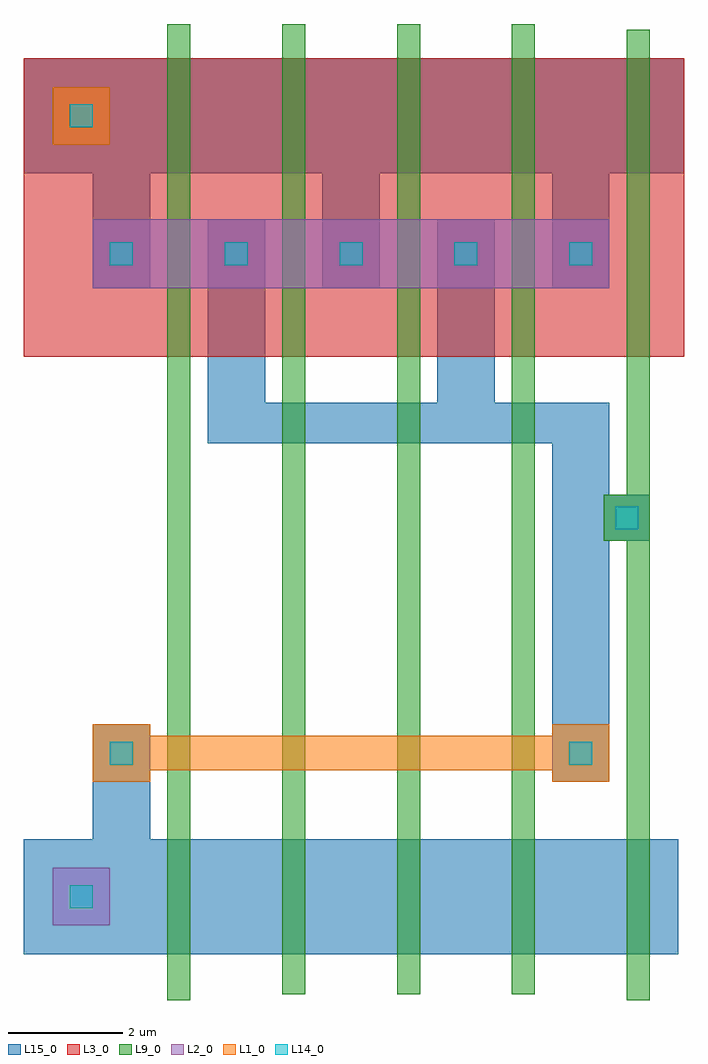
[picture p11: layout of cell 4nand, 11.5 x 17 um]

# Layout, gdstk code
import gdstk
lib = gdstk.Library(unit=1e-6, precision=1e-09)
def R(c, l, rs):  # rectangles x0, y0, x1, y1
    for r in rs: c.add(gdstk.rectangle(r[:2], r[2:], *l))
def A(c, l, x, y, w, h, nx, ny, dx, dy):  # array of equal rectangles
    R(c, l, [(x+i*dx, y+j*dy, x+i*dx+w, y+j*dy+h) for i in range(nx) for j in range(ny)])
def P(c, l, *ps):  # polygons
    for p in ps: c.add(gdstk.Polygon(p, *l))
L1_0 = (1, 0)
L2_0 = (2, 0)
L3_0 = (3, 0)
L9_0 = (9, 0)
L14_0 = (14, 0)
L15_0 = (15, 0)

c_4nand = lib.new_cell('4nand')
R(c_4nand, L1_0, [(-6.2,4.3,-5.2,5.3)])
P(c_4nand, L1_0, [(-5.5,-5.8),(-5.5,-6.8),(-4.5,-6.8),(-4.5,-6.6),(2.5,-6.6),(2.5,-6.8),(3.5,-6.8),(3.5,-5.8),(2.5,-5.8),(2.5,-6),(-4.5,-6),(-4.5,-5.8)])
R(c_4nand, L2_0, [(-6.2,-9.3,-5.2,-8.3), (-5.5,1.8,3.5,3)])
R(c_4nand, L3_0, [(-6.7,0.6,4.8,5.8)])
A(c_4nand, L9_0, -2.2, -10.5, 0.4, 16.9, 3, 1, 2, 0)
R(c_4nand, L9_0, [(-4.2,-10.6,-3.8,6.4)])
P(c_4nand, L9_0, [(4.2,-10.6),(4.2,6.3),(3.8,6.3),(3.8,-1.8),(3.4,-1.8),(3.4,-2.6),(3.8,-2.6),(3.8,-10.6)])
A(c_4nand, L14_0, -5.2, 2.2, 0.4, 0.4, 5, 1, 2, 0)
R(c_4nand, L14_0, [(-5.9,-9,-5.5,-8.6), (-5.2,-6.5,-4.8,-6.1), (2.8,-6.5,3.2,-6.1), (3.6,-2.4,4,-2), (-5.9,4.6,-5.5,5)])
P(c_4nand, L15_0, [(-4.5,-7.8),(-4.5,-5.8),(-5.5,-5.8),(-5.5,-7.8),(-6.7,-7.8),(-6.7,-9.8),(4.7,-9.8),(4.7,-7.8)],
  [(3.5,3.8),(4.8,3.8),(4.8,5.8),(-6.7,5.8),(-6.7,3.8),(-5.5,3.8),(-5.5,1.8),(-4.5,1.8),(-4.5,3.8),(-1.5,3.8),(-1.5,1.8),(-0.5,1.8),(-0.5,3.8),(2.5,3.8),(2.5,1.8),(3.5,1.8)],
  [(-3.5,3),(-3.5,-0.9),(2.5,-0.9),(2.5,-6.8),(3.5,-6.8),(3.5,-2.6),(4.2,-2.6),(4.2,-1.8),(3.5,-1.8),(3.5,-0.2),(1.5,-0.2),(1.5,3),(0.5,3),(0.5,-0.2),(-2.5,-0.2),(-2.5,3)])

lib.write_gds('4nand.gds')
